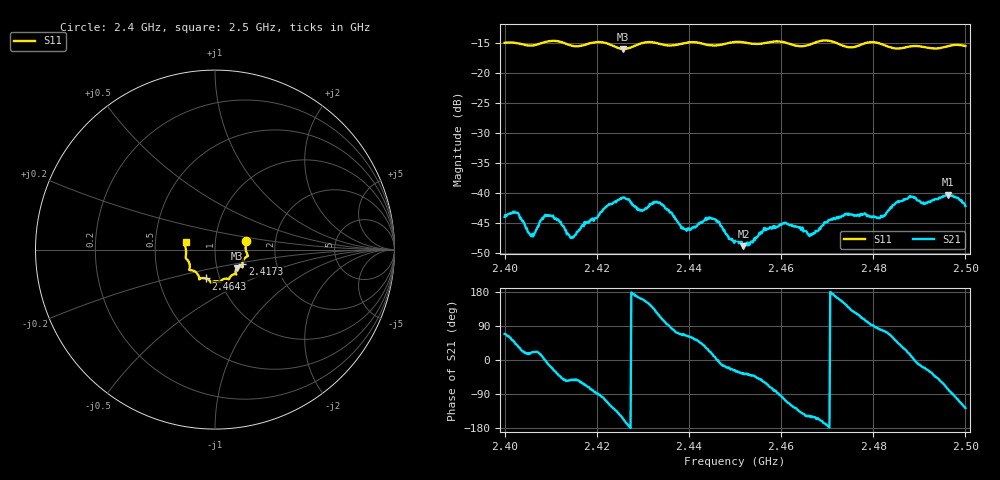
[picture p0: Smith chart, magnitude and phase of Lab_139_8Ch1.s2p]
# Hz S RI R 50
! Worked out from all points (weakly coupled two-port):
!   601 points, 2.4 GHz to 2.5 GHz, reference 50 ohm
!   highest |S21| = -40.25 dB at 2.4962 GHz (marker M1); lowest = -48.9 dB at 2.4518 GHz (marker M2)
!   lowest |S11| = -15.9 dB at 2.4257 GHz (marker M3), VSWR 1.38, Z = 62.4 - j13.2 ohm
!   |S11| at or under -10 dB: start of sweep to end of sweep
!   S12 and S22 are empty: the file has one direction only
!   S11 on the Smith chart (normalised r, x): 2.4 GHz: 1.41, +0.14; 2.4173 GHz: 1.34, -0.23; 2.4643 GHz: 0.86, -0.29; 2.5 GHz: 0.72, +0.06
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2.4e9  0.1734 0.0486  0.00228 0.0059  0 0  0 0
2.402667e9  0.1754 0.0368  0.00526 0.00436  0 0  0 0
2.405833e9  0.1707 0.00374  0.0041 0.00147  0 0  0 0
2.409167e9  0.1818 -0.0299  0.00652 -0.000658  0 0  0 0
2.4145e9  0.1628 -0.0507  0.00253 -0.00338  0 0  0 0
2.416667e9  0.1529 -0.0743  0.00256 -0.00457  0 0  0 0
2.417333e9  0.1521 -0.0818  0.00251 -0.00516  0 0  0 0
2.425667e9  0.1227 -0.1027  -0.00825 -0.00388  0 0  0 0
2.429667e9  0.1163 -0.135  -0.00675 0.00233  0 0  0 0
2.433333e9  0.113 -0.137  -0.0041 0.00722  0 0  0 0
2.438833e9  0.0806 -0.1589  0.00183 0.00466  0 0  0 0
2.444833e9  0.0567 -0.1615  0.00583 0.00196  0 0  0 0
2.45e9  0.0287 -0.1808  0.00352 -0.0018  0 0  0 0
2.451833e9  0.0231 -0.1801  0.00297 -0.00204  0 0  0 0
2.460667e9  -0.0257 -0.1802  -0.00123 -0.00543  0 0  0 0
2.464333e9  -0.0499 -0.1609  -0.00371 -0.00323  0 0  0 0
2.466667e9  -0.0761 -0.1593  -0.00389 -0.00218  0 0  0 0
2.473833e9  -0.0962 -0.138  -0.00572 0.00347  0 0  0 0
2.483333e9  -0.1404 -0.09  0.00261 0.00674  0 0  0 0
2.488167e9  -0.1609 -0.0495  0.00907 0.00188  0 0  0 0
2.496167e9  -0.167 0.0212  0.00226 -0.00945  0 0  0 0
2.5e9  -0.1637 0.0424  -0.00469 -0.00622  0 0  0 0
